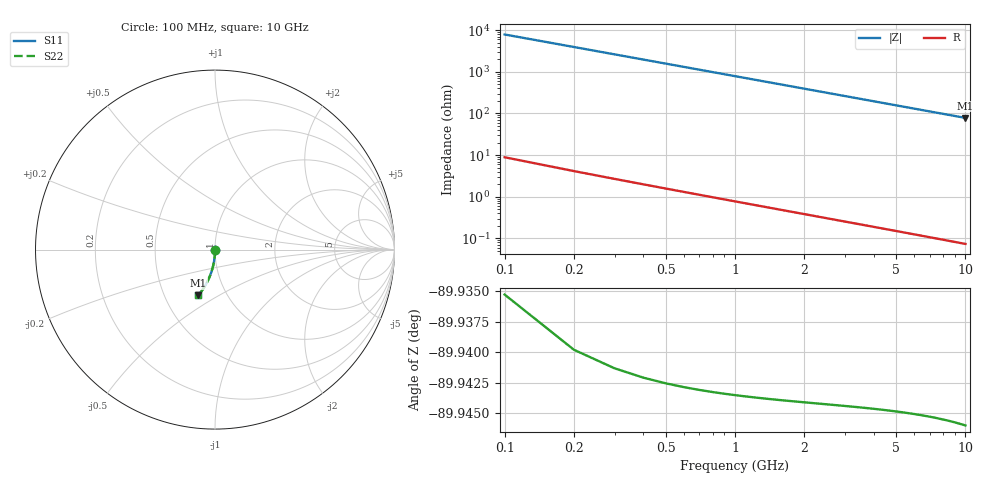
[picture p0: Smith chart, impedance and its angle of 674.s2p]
# Hz S RI R 50.00
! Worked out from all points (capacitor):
!   100 points, 100 MHz to 10 GHz, reference 50 ohm
!   read as one part in shunt: C = 202 fF near 100 MHz
!   lowest |Z| = 78.2 ohm at 10 GHz (marker M1)
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1e8  9.3e-05 -0.00281  0.9999 -0.00355  0.9999 -0.00355  9.3e-05 -0.00281
2e8  6.07e-05 -0.00562  0.9998 -0.00709  0.9998 -0.00709  6.07e-05 -0.00562
3e8  8.34e-06 -0.00843  0.9998 -0.0106  0.9998 -0.0106  8.34e-06 -0.00843
4e8  -6.41e-05 -0.0112  0.9997 -0.0142  0.9997 -0.0142  -6.41e-05 -0.0112
5e8  -0.000156 -0.014  0.9996 -0.0177  0.9996 -0.0177  -0.000156 -0.014
6e8  -0.000269 -0.0169  0.9995 -0.0213  0.9995 -0.0213  -0.000269 -0.0169
7e8  -0.000401 -0.0197  0.9994 -0.0248  0.9994 -0.0248  -0.000401 -0.0197
8e8  -0.000554 -0.0225  0.9992 -0.0284  0.9992 -0.0284  -0.000554 -0.0225
9e8  -0.000726 -0.0253  0.999 -0.0319  0.999 -0.0319  -0.000726 -0.0253
1.1e9  -0.00113 -0.0309  0.9986 -0.039  0.9986 -0.039  -0.00113 -0.0309
1.4e9  -0.00189 -0.0393  0.9978 -0.0496  0.9978 -0.0496  -0.00189 -0.0393
1.8e9  -0.00317 -0.0505  0.9965 -0.0638  0.9965 -0.0638  -0.00317 -0.0505
2.1e9  -0.00434 -0.0588  0.9953 -0.0743  0.9953 -0.0743  -0.00434 -0.0588
2.5e9  -0.00618 -0.0699  0.9934 -0.0884  0.9934 -0.0884  -0.00618 -0.0699
2.9e9  -0.00834 -0.0809  0.9912 -0.1024  0.9912 -0.1024  -0.00834 -0.0809
3.4e9  -0.0115 -0.0946  0.988 -0.1198  0.988 -0.1198  -0.0115 -0.0946
4.2e9  -0.0175 -0.1162  0.9818 -0.1474  0.9818 -0.1474  -0.0175 -0.1162
5.1e9  -0.0256 -0.14  0.9734 -0.1779  0.9734 -0.1779  -0.0256 -0.14
5.9e9  -0.0341 -0.1606  0.9647 -0.2045  0.9647 -0.2045  -0.0341 -0.1606
6.7e9  -0.0437 -0.1806  0.9548 -0.2305  0.9548 -0.2305  -0.0437 -0.1806
8.4e9  -0.0674 -0.2207  0.9304 -0.2835  0.9304 -0.2835  -0.0674 -0.2207
1e10  -0.0934 -0.2551  0.9035 -0.3301  0.9035 -0.3301  -0.0934 -0.2551
